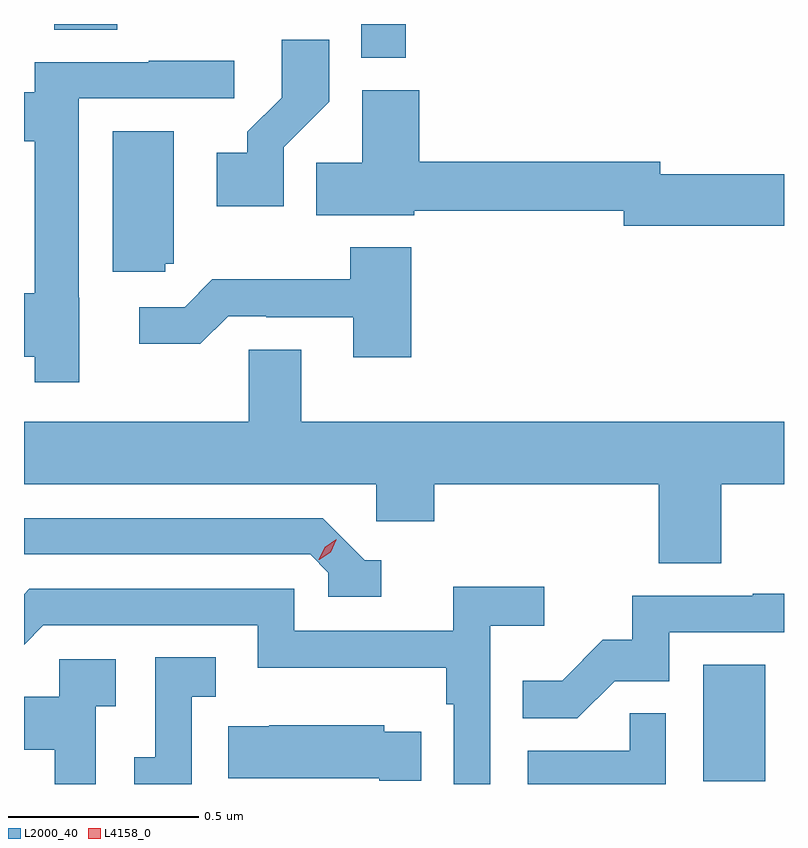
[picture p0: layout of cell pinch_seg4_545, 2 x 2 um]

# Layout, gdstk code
import gdstk
lib = gdstk.Library(unit=1e-6, precision=1e-09)
def R(c, l, rs):  # rectangles x0, y0, x1, y1
    for r in rs: c.add(gdstk.rectangle(r[:2], r[2:], *l))
def P(c, l, *ps):  # polygons
    for p in ps: c.add(gdstk.Polygon(p, *l))
L2000_40 = (2000, 40)
L4158_0 = (4158, 0)

pinch_seg4_545 = lib.new_cell('pinch_seg4_545')
R(pinch_seg4_545, L2000_40, [(1131.062,782.718,1131.226,783.025), (1130.163,784.622,1130.279,784.711), (1129.355,784.696,1129.52,784.711)])
P(pinch_seg4_545, L2000_40, [(1129.959,784.387),(1130.078,784.506),(1130.078,784.669),(1129.953,784.669),(1129.953,784.517),(1129.862,784.427),(1129.862,784.372),(1129.782,784.372),(1129.782,784.232),(1129.959,784.232)],
  [(1129.42,783.99),(1129.419,783.99),(1129.419,784.515),(1129.828,784.515),(1129.828,784.614),(1129.603,784.614),(1129.603,784.611),(1129.303,784.611),(1129.303,784.531),(1129.275,784.531),(1129.275,784.402),(1129.303,784.402),(1129.303,784.002),(1129.275,784.002),(1129.275,783.836),(1129.303,783.836),(1129.303,783.768),(1129.42,783.768)],
  [(1131.275,784.316),(1130.949,784.316),(1130.949,784.348),(1130.315,784.348),(1130.315,784.537),(1130.165,784.537),(1130.165,784.346),(1130.044,784.346),(1130.044,784.208),(1130.302,784.208),(1130.302,784.219),(1130.853,784.219),(1130.853,784.18),(1131.275,784.18)],
  [(1129.647,784.08),(1129.669,784.08),(1129.669,784.429),(1129.508,784.429),(1129.508,784.059),(1129.647,784.059)],
  [(1130.294,784.123),(1130.134,784.123),(1130.134,784.039),(1129.771,784.039),(1129.698,783.966),(1129.578,783.966),(1129.578,783.869),(1129.739,783.869),(1129.812,783.942),(1129.912,783.942),(1129.912,783.939),(1130.141,783.939),(1130.141,783.834),(1130.294,783.834)],
  [(1131.11,783.5),(1131.275,783.5),(1131.275,783.664),(1130.005,783.664),(1130.005,783.854),(1129.866,783.854),(1129.866,783.664),(1129.275,783.664),(1129.275,783.5),(1130.202,783.5),(1130.202,783.402),(1130.354,783.402),(1130.354,783.5),(1130.945,783.5),(1130.945,783.292),(1131.11,783.292)],
  [(1130.215,783.3),(1130.172,783.3),(1130.061,783.411),(1129.275,783.411),(1129.275,783.315),(1130.028,783.315),(1130.076,783.267),(1130.076,783.204),(1130.215,783.204)],
  [(1130.502,783.128),(1130.644,783.128),(1130.644,783.23),(1130.405,783.23),(1130.405,783.114),(1129.986,783.114),(1129.986,783.225),(1129.289,783.225),(1129.275,783.211),(1129.275,783.078),(1129.326,783.129),(1129.89,783.129),(1129.89,783.017),(1130.386,783.017),(1130.386,782.921),(1130.406,782.921),(1130.406,782.711),(1130.502,782.711)],
  [(1130.829,782.982),(1130.973,782.982),(1130.973,783.111),(1131.275,783.111),(1131.275,783.212),(1131.193,783.212),(1131.193,783.207),(1130.875,783.207),(1130.875,783.09),(1130.798,783.09),(1130.691,782.983),(1130.587,782.983),(1130.587,782.884),(1130.731,782.884)],
  [(1129.716,782.941),(1129.78,782.941),(1129.78,783.044),(1129.62,783.044),(1129.62,782.781),(1129.565,782.781),(1129.565,782.711),(1129.716,782.711)],
  [(1129.464,782.915),(1129.516,782.915),(1129.516,783.039),(1129.368,783.039),(1129.368,782.941),(1129.275,782.941),(1129.275,782.801),(1129.356,782.801),(1129.356,782.711),(1129.464,782.711)],
  [(1130.964,782.897),(1130.869,782.897),(1130.869,782.799),(1130.6,782.799),(1130.6,782.711),(1130.964,782.711)],
  [(1130.321,782.848),(1130.223,782.848),(1130.223,782.866),(1129.921,782.866),(1129.921,782.863),(1129.813,782.863),(1129.813,782.726),(1130.21,782.726),(1130.21,782.719),(1130.321,782.719)])
P(pinch_seg4_545, L4158_0, [(1130.051,783.301),(1130.051,783.302),(1130.067,783.334),(1130.097,783.355),(1130.097,783.355),(1130.097,783.354),(1130.082,783.321),(1130.052,783.301)])

lib.write_gds('pinch_seg4_545.gds')
